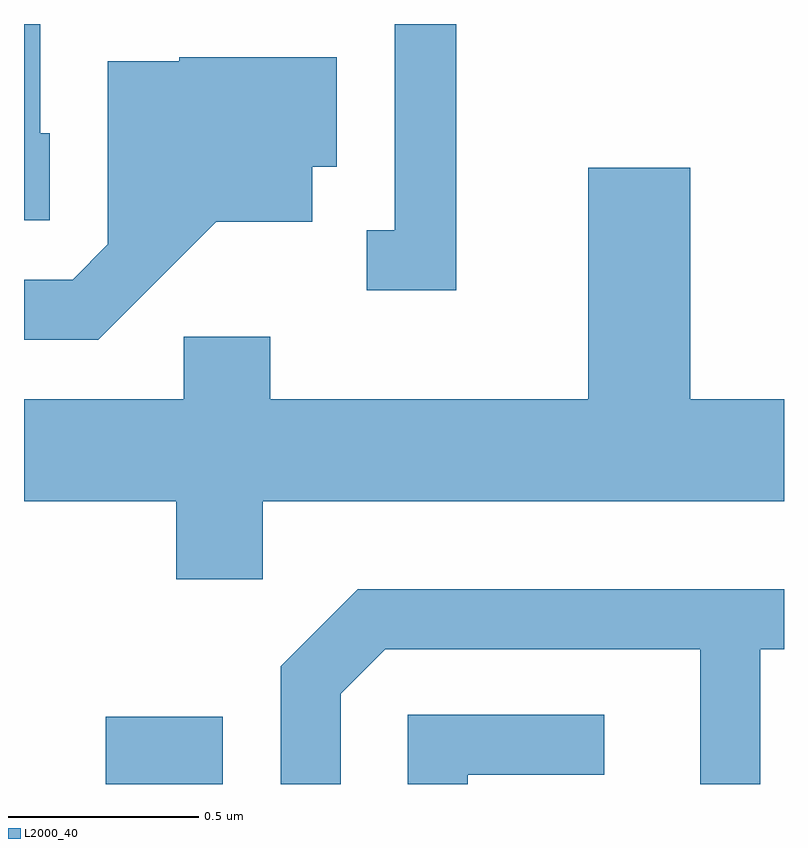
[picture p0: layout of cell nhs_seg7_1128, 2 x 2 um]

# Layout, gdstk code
import gdstk
lib = gdstk.Library(unit=1e-6, precision=1e-09)
def R(c, l, rs):  # rectangles x0, y0, x1, y1
    for r in rs: c.add(gdstk.rectangle(r[:2], r[2:], *l))
def P(c, l, *ps):  # polygons
    for p in ps: c.add(gdstk.Polygon(p, *l))
L2000_40 = (2000, 40)

nhs_seg7_1128 = lib.new_cell('nhs_seg7_1128')
R(nhs_seg7_1128, L2000_40, [(193.826,1700.252,194.134,1700.429)])
P(nhs_seg7_1128, L2000_40, [(194.749,1702.252),(194.586,1702.252),(194.586,1701.709),(194.513,1701.709),(194.513,1701.551),(194.749,1701.551)],
  [(193.679,1701.964),(193.654,1701.964),(193.654,1702.252),(193.611,1702.252),(193.611,1701.736),(193.679,1701.736)],
  [(194.117,1701.731),(194.369,1701.731),(194.369,1701.876),(194.434,1701.876),(194.434,1702.164),(194.02,1702.164),(194.02,1702.154),(193.831,1702.154),(193.831,1701.672),(193.739,1701.579),(193.611,1701.579),(193.611,1701.421),(193.807,1701.421)],
  [(194.239,1700.996),(195.611,1700.996),(195.611,1701.264),(195.364,1701.264),(195.364,1701.874),(195.096,1701.874),(195.096,1701.264),(194.259,1701.264),(194.259,1701.429),(194.031,1701.429),(194.031,1701.264),(193.611,1701.264),(193.611,1700.996),(194.011,1700.996),(194.011,1700.791),(194.239,1700.791)],
  [(194.444,1700.489),(194.562,1700.606),(195.391,1700.606),(195.391,1700.252),(195.549,1700.252),(195.549,1700.606),(195.611,1700.606),(195.611,1700.764),(194.489,1700.764),(194.286,1700.562),(194.286,1700.252),(194.444,1700.252)],
  [(194.779,1700.276),(195.138,1700.276),(195.138,1700.434),(194.621,1700.434),(194.621,1700.252),(194.779,1700.252)])

lib.write_gds('nhs_seg7_1128.gds')
